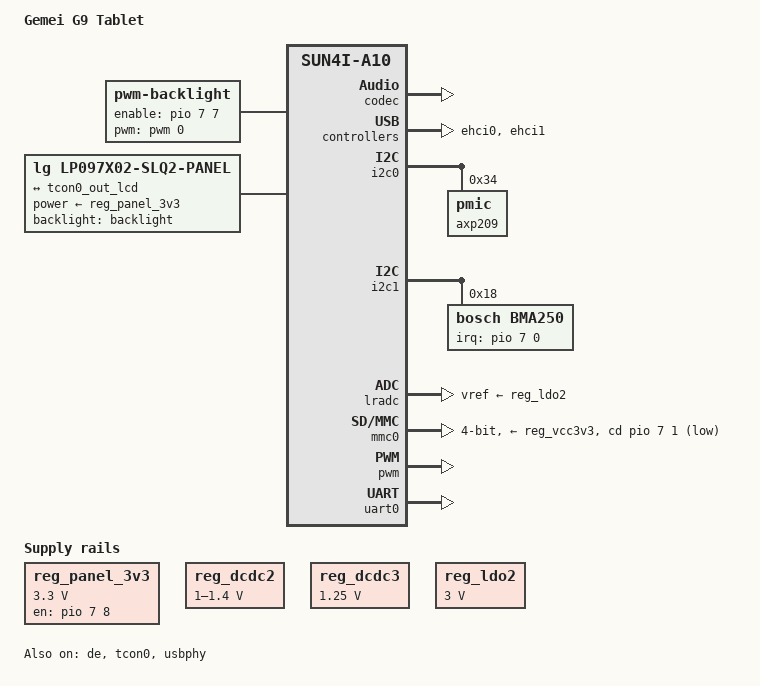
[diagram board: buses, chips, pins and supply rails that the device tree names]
/*
 * Copyright 2015 Priit Laes
 *
 * Priit Laes <plaes@plaes.org>
 *
 * This file is dual-licensed: you can use it either under the terms
 * of the GPL or the X11 license, at your option. Note that this dual
 * licensing only applies to this file, and not this project as a
 * whole.
 *
 *  a) This file is free software; you can redistribute it and/or
 *     modify it under the terms of the GNU General Public License as
 *     published by the Free Software Foundation; either version 2 of the
 *     License, or (at your option) any later version.
 *
 *     This file is distributed in the hope that it will be useful,
 *     but WITHOUT ANY WARRANTY; without even the implied warranty of
 *     MERCHANTABILITY or FITNESS FOR A PARTICULAR PURPOSE.  See the
 *     GNU General Public License for more details.
 *
 * Or, alternatively,
 *
 *  b) Permission is hereby granted, free of charge, to any person
 *     obtaining a copy of this software and associated documentation
 *     files (the "Software"), to deal in the Software without
 *     restriction, including without limitation the rights to use,
 *     copy, modify, merge, publish, distribute, sublicense, and/or
 *     sell copies of the Software, and to permit persons to whom the
 *     Software is furnished to do so, subject to the following
 *     conditions:
 *
 *     The above copyright notice and this permission notice shall be
 *     included in all copies or substantial portions of the Software.
 *
 *     THE SOFTWARE IS PROVIDED "AS IS", WITHOUT WARRANTY OF ANY KIND,
 *     EXPRESS OR IMPLIED, INCLUDING BUT NOT LIMITED TO THE WARRANTIES
 *     OF MERCHANTABILITY, FITNESS FOR A PARTICULAR PURPOSE AND
 *     NONINFRINGEMENT. IN NO EVENT SHALL THE AUTHORS OR COPYRIGHT
 *     HOLDERS BE LIABLE FOR ANY CLAIM, DAMAGES OR OTHER LIABILITY,
 *     WHETHER IN AN ACTION OF CONTRACT, TORT OR OTHERWISE, ARISING
 *     FROM, OUT OF OR IN CONNECTION WITH THE SOFTWARE OR THE USE OR
 *     OTHER DEALINGS IN THE SOFTWARE.
 */

/dts-v1/;
#include "sun4i-a10.dtsi"
#include "sunxi-common-regulators.dtsi"
#include <dt-bindings/gpio/gpio.h>
#include <dt-bindings/input/input.h>
#include <dt-bindings/interrupt-controller/irq.h>
#include <dt-bindings/pwm/pwm.h>


/ {
	model = "Gemei G9 Tablet";
	compatible = "gemei,g9", "allwinner,sun4i-a10";

	aliases {
		serial0 = &uart0;
	};

	chosen {
		stdout-path = "serial0:115200n8";
	};

	backlight: backlight {
		compatible = "pwm-backlight";
		enable-gpios = <&pio 7 7 GPIO_ACTIVE_HIGH>; /* PH7 */

		/* TODO: Figure out proper parameters */
		pwms = <&pwm 0 50000 PWM_POLARITY_INVERTED>;
		brightness-levels = <0 10 20 30 40 50 60 70 80 90 100>;
		default-brightness-level = <8>;
	};


	panel {
		/* LG LP097x02-slq2 10" 1024x768 LVDS panel. */
		compatible = "lg,lp097x02-slq2-panel", "panel-lvds";
		backlight = <&backlight>;

		// XXX: Not sure whether this is the right one...
		power-supply = <&reg_panel_3v3>;

		width-mm = <197>;
		height-mm = <147>;
		data-mapping = "vesa-24";

		panel-timing {
			/* 1024x768 */
			clock-frequency = <100000000>;
			hactive = <1024>;
			vactive = <768>;

			hsync-len = <1>;
			hfront-porch = <260>;
			hback-porch = <799>;

			vfront-porch = <16>;
			vback-porch = <15>;
			vsync-len = <1>;
		};

		port {
			panel_input: endpoint {
				remote-endpoint = <&tcon0_out_lcd>;
			};
		};
	};

	reg_panel_3v3: panel-3v3 {
		compatible = "regulator-fixed";
		regulator-name = "panel-3v3";
		regulator-min-microvolt = <3300000>;
		regulator-max-microvolt = <3300000>;
		enable-active-high;
		gpio = <&pio 7 8 GPIO_ACTIVE_HIGH>; /* PH08 */
	};
};

/*
 * TODO:
 *   2x cameras via CSI
 *   AXP battery management
 *   NAND
 *   OTG
 *   Touchscreen - gt801_2plus1 @ i2c adapter 2 @ 0x48
 */
&codec {
	/* PH15 controls power to external amplifier (ft2012q) */
	allwinner,pa-gpios = <&pio 7 15 GPIO_ACTIVE_HIGH>;
	status = "okay";
};

&cpu0 {
	cpu-supply = <&reg_dcdc2>;
};

&de {
	status = "okay";
};

&ehci0 {
	status = "okay";
};

&ehci1 {
	status = "okay";
};

&i2c0 {
	status = "okay";

	axp209: pmic@34 {
		reg = <0x34>;
		interrupts = <0>;
	};
};

#include "axp209.dtsi"

&i2c1 {
	status = "okay";

	/* Accelerometer */
	bma250@18 {
		compatible = "bosch,bma250";
		reg = <0x18>;
		interrupt-parent = <&pio>;
		interrupts = <7 0 IRQ_TYPE_EDGE_RISING>; /* PH00 / EINT0 */
	};
};

&lradc {
	vref-supply = <&reg_ldo2>;

	status = "okay";

	button-158 {
		label = "Volume Down";
		linux,code = <KEY_VOLUMEDOWN>;
		channel = <0>;
		voltage = <158730>;
	};

	button-349 {
		label = "Volume Up";
		linux,code = <KEY_VOLUMEUP>;
		channel = <0>;
		voltage = <349206>;
	};

	button-1142 {
		label = "Esc";
		linux,code = <KEY_ESC>;
		channel = <0>;
		voltage = <1142856>;
	};
};

&mmc0 {
	vmmc-supply = <&reg_vcc3v3>;
	bus-width = <4>;
	cd-gpios = <&pio 7 1 GPIO_ACTIVE_HIGH>; /* PH01 */
	cd-inverted;
	status = "okay";
};

&pwm {
	pinctrl-names = "default";
	pinctrl-0 = <&pwm0_pin>;
	status = "okay";
};

&reg_dcdc2 {
	regulator-always-on;
	/* XXX: axp20_buck2: 700 <--> 2275 mV at 1400 mV */
	regulator-min-microvolt = <1000000>;
	regulator-max-microvolt = <1400000>;
	regulator-name = "vdd-cpu";
};

&reg_dcdc3 {
	regulator-always-on;
	/* XXX: axp20_buck3: 700 <--> 3500 mV at 1250 mV */
	regulator-min-microvolt = <1250000>;
	regulator-max-microvolt = <1250000>;
	regulator-name = "vdd-int-dll";
};

&reg_ldo1 {
	regulator-name = "vdd-rtc";
};

&reg_ldo2 {
	/* axp20_ldo2: 1800 <--> 3300 mV at 3000 mV */
	regulator-always-on;
	regulator-min-microvolt = <3000000>;
	regulator-max-microvolt = <3000000>;
	regulator-name = "avcc";
};

// TODO: axp20_ldo3: 700 <--> 3500 mV at 2800 mV
// TODO: axp20_ldo4: 1250 <--> 3300 mV at 2800 mV
// TODO: axp20_ldoio0: 1800 <--> 3300 mV at 2800 mV 

&reg_usb1_vbus {
	status = "okay";
};

&reg_usb2_vbus {
	status = "okay";
};

&tcon0 {
	pinctrl-names = "default";
	pinctrl-0 = <&lcd_lvds_pins>;
	status = "okay";
};

&tcon0_out {
	tcon0_out_lcd: endpoint@0 {
		reg = <0>;
		remote-endpoint = <&panel_input>;
	};
};

&uart0  {
	pinctrl-names = "default";
	pinctrl-0 = <&uart0_pb_pins>;
	status = "okay";
};

&usbphy {
	usb1_vbus-supply = <&reg_usb1_vbus>;
	usb2_vbus-supply = <&reg_usb2_vbus>;
	status = "okay";
};
